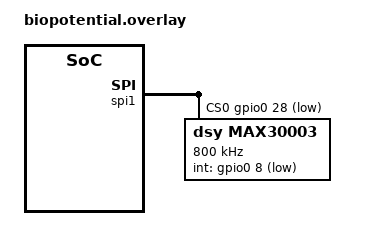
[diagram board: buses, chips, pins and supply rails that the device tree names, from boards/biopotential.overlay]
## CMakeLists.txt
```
# SPDX-License-Identifier: Apache-2.0

cmake_minimum_required(VERSION 3.20.0)

list(APPEND ZEPHYR_EXTRA_MODULES
  ${CMAKE_CURRENT_SOURCE_DIR}/drivers/max30003
  ${CMAKE_CURRENT_SOURCE_DIR}/drivers/bme280
  # ${CMAKE_CURRENT_SOURCE_DIR}/lib/tflite-micro
  
)


find_package(Zephyr REQUIRED HINTS $ENV{ZEPHYR_BASE})
project(Template)

file(GLOB SRC_FILES "src/*.c")


target_sources(app PRIVATE ${SRC_FILES})
```

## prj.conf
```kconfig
CONFIG_GPIO=y
CONFIG_SPI=y
CONFIG_APPLICATION_DEFINED_SYSCALL=y

#Logging
CONFIG_LOG=y
CONFIG_UART_CONSOLE=n
CONFIG_CONSOLE=y
CONFIG_USE_SEGGER_RTT=y
CONFIG_RTT_CONSOLE=y
CONFIG_SEGGER_RTT_BUFFER_SIZE_UP=4096


# Bluetooth LE
CONFIG_BT=y
CONFIG_BT_PERIPHERAL=y
CONFIG_BT_DEVICE_NAME="MY_EXG"

# Increase stack size for the main thread and System Workqueue
CONFIG_SYSTEM_WORKQUEUE_STACK_SIZE=2048
CONFIG_MAIN_STACK_SIZE=2048


CONFIG_DK_LIBRARY=y


CONFIG_BT_L2CAP_TX_MTU=247
CONFIG_BT_CTLR_DATA_LENGTH_MAX=251
CONFIG_BT_BUF_ACL_RX_SIZE=251
CONFIG_BT_BUF_ACL_RX_COUNT=8
CONFIG_BT_BUF_ACL_TX_SIZE=251
CONFIG_BT_BUF_ACL_TX_COUNT=8
CONFIG_BT_BUF_CMD_TX_COUNT=8
```

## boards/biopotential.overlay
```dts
&i2c0 {	status = "disabled";};
&spi0 {	status = "disabled";};
&i2c1 {	status = "disabled";};
	
&spi1 {
    compatible = "nordic,nrf-spim";
	status = "okay";
	pinctrl-names = "default", "sleep";
	cs-gpios = <&gpio0 28 GPIO_ACTIVE_LOW>;
	max30003: max30003@0 {
		compatible = "dsy,max30003";
		reg = <0>;
		spi-max-frequency = <800000>; 
		int-gpios = <&gpio0 8 GPIO_ACTIVE_LOW>;
	};
};




&spi1_default {
    group1 {
        psels = <NRF_PSEL(SPIM_SCK, 0, 29)>,
                <NRF_PSEL(SPIM_MOSI, 0, 30)>,
                <NRF_PSEL(SPIM_MISO, 0, 31)>;
    };
};


&uart0 {
    status = "disabled";
};
```

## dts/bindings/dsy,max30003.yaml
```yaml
# Copyright (c) 2023, Nordic Semiconductor
# SPDX-License-Identifier: Apache-2.0

description: BME280 integrated environmental sensor

compatible: "dsy,max30003"

include: spi-device.yaml

properties:
  int-gpios:
    type: phandle-array
    required: false
    description: INT interrupt pin
```

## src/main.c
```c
/*
 * Copyright (c) 2024 Nordic Semiconductor ASA
 *
 * SPDX-License-Identifier: LicenseRef-Nordic-5-Clause
 */

#include <stdio.h>
#include <zephyr/kernel.h>
#include <zephyr/device.h>
#include <zephyr/devicetree.h>
#include <zephyr/drivers/gpio.h>
#include <zephyr/drivers/spi.h>
#include <zephyr/logging/log.h>
#include <zephyr/sys/util.h>

#include <zephyr/bluetooth/bluetooth.h>
#include <zephyr/bluetooth/gap.h>
#include <zephyr/bluetooth/uuid.h>
#include <zephyr/bluetooth/conn.h>

#include "ble.h"
#include <max30003.h>

LOG_MODULE_REGISTER(MAXBLE, LOG_LEVEL_INF);

#define SPIOP	SPI_WORD_SET(8) | SPI_TRANSFER_MSB

const struct gpio_dt_spec ledspec = GPIO_DT_SPEC_GET(DT_NODELABEL(led0), gpios);
const struct device *spi_dev = DEVICE_DT_GET(DT_NODELABEL(max30003));

static const struct gpio_dt_spec max30003_interrupt = GPIO_DT_SPEC_GET(DT_NODELABEL(max30003), int_gpios);
static uint32_t dummy_data = 100;

static void simulate_data(void)
{
	dummy_data++;
	if (dummy_data == 200) {
		dummy_data = 100;
	}
}






static int on_button_pressed(void){
	max30003_print_cnfg(spi_dev);
	return 0;
}

struct ble_cb callbacks = {
	.dbg_cb = on_button_pressed,
};

void on_interrupt(const struct device *dev, struct gpio_callback *cb, uint32_t pins)
{
    // printk("Interrupt triggered!!!! \n");

	// max30003_fifo_read(spi_dev, NULL);

}
static struct gpio_callback cb_data;
int main(void)
{
	printk("Initializing....\n");
	
	LOG_INF("MAX30003 Interrupt GPIO Info:");
	LOG_INF("Device name: %s", max30003_interrupt.port->name);
	LOG_INF("Pin number: %d", max30003_interrupt.pin);
	LOG_INF("Flags: 0x%x", max30003_interrupt.dt_flags);

	gpio_pin_configure_dt(&max30003_interrupt, GPIO_INPUT);
	gpio_pin_interrupt_configure_dt(&max30003_interrupt, GPIO_INT_EDGE_FALLING);
	gpio_init_callback(&cb_data, on_interrupt, BIT(max30003_interrupt.pin));
	gpio_add_callback(max30003_interrupt.port, &cb_data);

	max30003_synch_ecg(spi_dev);
	while (1){

		max30003_fifo_read(spi_dev, NULL);



		// Populate your array



		struct max30003_data *maxdata = spi_dev->data;
		int32_t ecg_buffer[32]={0};
		memcpy(ecg_buffer, maxdata->ecg_data, 128);
		for(int i=0; i<32; i++){
			printk("hex: %x ECG_VALUE: %d\n", ecg_buffer[i],ecg_buffer[i]);
		}
		
		int err = stream_sensor_data(ecg_buffer, 128);

		// printk("Error #: %d\n", err);
		k_msleep(30);
		
		
	}
	return 0;
}
```

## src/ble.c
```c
// ble.c
#include <zephyr/types.h>
#include <stddef.h>
#include <string.h>
#include <errno.h>
#include <zephyr/sys/printk.h>
#include <zephyr/sys/byteorder.h>
#include <zephyr/kernel.h>
#include <zephyr/logging/log.h>
#include <zephyr/bluetooth/bluetooth.h>
#include <zephyr/bluetooth/hci.h>
#include <zephyr/bluetooth/conn.h>
#include <zephyr/bluetooth/uuid.h>
#include <zephyr/bluetooth/gatt.h>
#include <zephyr/device.h>
#include <zephyr/devicetree.h>

#include "ble.h"
#include <max30003.h>

#define PRIO K_HIGHEST_APPLICATION_THREAD_PRIO

LOG_MODULE_REGISTER(BLE);

static bool button_state;
static bool notify_mysensor_enabled;
static char dbg_message[1024]="Hello world\n\0";
static struct ble_cb cb;

const struct device *max30003_dev = DEVICE_DT_GET(DT_NODELABEL(max30003));

static ssize_t read_button(struct bt_conn *conn, const struct bt_gatt_attr *attr, void *buf, uint16_t len, uint16_t offset)
{
	const char *value = attr->user_data;
	
	printk("Read button triggered!\n");
	
	// max30003_print_cnfg(max30003_dev);
	return bt_gatt_attr_read(conn, attr, buf, len, offset, value, 1024);
	// return 0;
}

static void ble_ccc_exg_cfg_changed(const struct bt_gatt_attr *attr, uint16_t value)
{
	notify_mysensor_enabled = (value == BT_GATT_CCC_NOTIFY);
}


BT_GATT_SERVICE_DEFINE(
	exg_service,
	BT_GATT_PRIMARY_SERVICE(BT_UUID_EXG),
	BT_GATT_CHARACTERISTIC(BT_UUID_EXG_BUTTON, BT_GATT_CHRC_READ, BT_GATT_PERM_READ, read_button, NULL, &dbg_message),
	BT_GATT_CHARACTERISTIC(BT_UUID_EXG_SENSOR, BT_GATT_CHRC_NOTIFY, BT_GATT_PERM_NONE, NULL,
			       NULL, NULL),

	BT_GATT_CCC(ble_ccc_exg_cfg_changed, BT_GATT_PERM_READ | BT_GATT_PERM_WRITE),
	// BT_GATT_CHARACTERISTIC(BT_UUID_EXG_LED, BT_GATT_CHRC_WRITE, BT_GATT_PERM_WRITE, NULL, write_led, NULL)
);

int init_ble_service(struct ble_cb *callbacks){
	cb.dbg_cb = callbacks->dbg_cb;
	return 0;
}

static struct bt_le_adv_param *adv_param = BT_LE_ADV_PARAM(
	(BT_LE_ADV_OPT_CONNECTABLE |
	 BT_LE_ADV_OPT_USE_IDENTITY), /* Connectable advertising and use identity address */
	800, /* Min Advertising Interval 500ms (800*0.625ms) */
	801, /* Max Advertising Interval 500.625ms (801*0.625ms) */
	NULL); /* Set to NULL for undirected advertising */

static const struct bt_data ad[] = {
	BT_DATA_BYTES(BT_DATA_FLAGS, (BT_LE_AD_GENERAL | BT_LE_AD_NO_BREDR)),
	BT_DATA(BT_DATA_NAME_COMPLETE, DEVICE_NAME, DEVICE_NAME_LEN),

};

static const struct bt_data sd[] = {
	BT_DATA_BYTES(BT_DATA_UUID128_ALL, BT_UUID_EXG_VAL),
};

static void on_connected(struct bt_conn *conn, uint8_t err)
{
	if (err) {
		printk("Connection failed (err %u)\n", err);
		return;
	}

	printk("Connected\n");
	ssize_t mtu = bt_gatt_get_mtu(conn);
	printk("MTU: %d\n", mtu);


}

static void on_disconnected(struct bt_conn *conn, uint8_t reason)
{
	printk("Disconnected (reason %u)\n", reason);


}
struct bt_conn_cb connection_callbacks = {
	.connected = on_connected,
	.disconnected = on_disconnected,
};

int stream_sensor_data(uint32_t *sensor_value, ssize_t size)
{
	if (!notify_mysensor_enabled) {
		return -EACCES;
	}

	return bt_gatt_notify(NULL, &exg_service.attrs[3], sensor_value, size);
}



int ble_main(void)
{	

	int err;
	err = bt_enable(NULL);
	if (err) {
		LOG_ERR("Bluetooth init failed (err %d)\n", err);
		return -1;
	}

	bt_conn_cb_register(&connection_callbacks);

	LOG_INF("Bluetooth initialized\n");
	err = bt_le_adv_start(adv_param, ad, ARRAY_SIZE(ad), sd, ARRAY_SIZE(sd));
	if (err) {
		LOG_ERR("Advertising failed to start (err %d)\n", err);
		return -1;
	}

	// stream_sensor_data(1);

	LOG_INF("Advertising successfully started with prioirty: %d\n", PRIO);
	return 0;
}

K_THREAD_DEFINE(ble_t, 4096, ble_main, NULL, NULL, NULL, PRIO, 0, 0);
```

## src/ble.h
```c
//ble.h

#ifndef BLE_H_
#define BLE_H_

#include <zephyr/types.h>

#define DEVICE_NAME CONFIG_BT_DEVICE_NAME
#define DEVICE_NAME_LEN (sizeof(DEVICE_NAME) - 1)
//000062c4-b99e-4141-9439-c4f9db977899
#define BT_UUID_EXG_VAL \
	BT_UUID_128_ENCODE(0x000062c4, 0xb99e, 0x4141, 0x9439, 0xc4f9db977899)

/** @brief Button Characteristic UUID. */
#define BT_UUID_EXG_BUTTON_VAL \
	BT_UUID_128_ENCODE(0x000062c5, 0xb99e, 0x4141, 0x9439, 0xc4f9db977899)

/** @brief LED Characteristic UUID. */
#define BT_UUID_EXG_LED_VAL \
	BT_UUID_128_ENCODE(0x000062c6, 0xb99e, 0x4141, 0x9439, 0xc4f9db977899)

#define BT_UUID_EXG_SENSOR_VAL \
	BT_UUID_128_ENCODE(0x000062c7, 0xb99e, 0x4141, 0x9439, 0xc4f9db977899)


#define BT_UUID_EXG           BT_UUID_DECLARE_128(BT_UUID_EXG_VAL)
#define BT_UUID_EXG_BUTTON    BT_UUID_DECLARE_128(BT_UUID_EXG_BUTTON_VAL)
#define BT_UUID_EXG_LED       BT_UUID_DECLARE_128(BT_UUID_EXG_LED_VAL)
#define BT_UUID_EXG_SENSOR	  BT_UUID_DECLARE_128(BT_UUID_EXG_SENSOR_VAL)


typedef int (*dbg_cb_t) (void);
struct ble_cb  {
	dbg_cb_t dbg_cb; 
};

int init_ble_service(struct ble_cb *callbacks);

/**
 * @}
 */

#endif /* BLE_H_ */
```

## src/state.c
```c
#include "state.h"

static SystemStatus system_status = {0};

void initialize_system_status(void) {
    system_status.current_state = STATE_IDLE;
    system_status.flash_storage_used = 0;
    system_status.running_time = 0;
    system_status.battery_level = 100.0;
}

void fw_set_state(FirmwareState new_state) {
    system_status.current_state = new_state;
}

FirmwareState fw_get_state(void) {
    return system_status.current_state;
}

void fw_update_flash_storage_used(uint32_t bytes) {
    system_status.flash_storage_used += bytes;
}

void fw_update_running_time(uint32_t time) {
    system_status.running_time += time;
}

void fw_update_battery_level(float level) {
    system_status.battery_level = level;
}

SystemStatus fw_get_system_status(void) {
    return system_status;
}
```

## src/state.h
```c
#ifndef STATE_H
#define STATE_H

#include <stdint.h>

// Define the possible states
typedef enum {
    STATE_IDLE,
    STATE_STREAMING,
    STATE_SAVING,
    STATE_ERROR
} FirmwareState;

// Define a structure to hold system information
typedef struct {
    FirmwareState current_state;
    uint32_t flash_storage_used; // in bytes
    uint32_t running_time;       // in seconds
    float battery_level;         // percentage
} SystemStatus;

// Function declarations
void fw_initialize_system_status(void);
void fw_set_state(FirmwareState new_state);
FirmwareState fw_get_state(void);
void fw_update_flash_storage_used(uint32_t bytes);
void fw_update_running_time(uint32_t time);
void fw_update_battery_level(float level);
SystemStatus fw_get_system_status(void);

#endif // STATE_H
```
